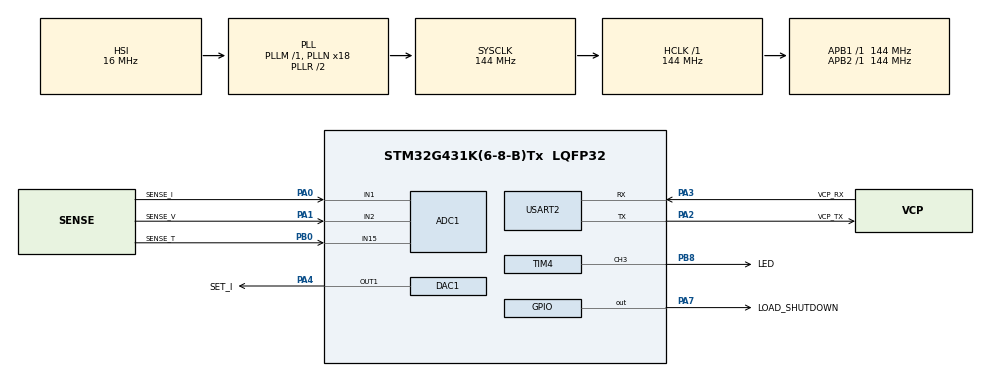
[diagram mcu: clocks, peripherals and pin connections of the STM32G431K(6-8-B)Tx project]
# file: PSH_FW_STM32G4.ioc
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ADC1.Channel-0\#ChannelRegularConversion=ADC_CHANNEL_1
ADC1.Channel-1\#ChannelRegularConversion=ADC_CHANNEL_2
ADC1.Channel-2\#ChannelRegularConversion=ADC_CHANNEL_15
ADC1.Channel-3\#ChannelRegularConversion=ADC_CHANNEL_TEMPSENSOR_ADC1
ADC1.Channel-4\#ChannelRegularConversion=ADC_CHANNEL_VREFINT
ADC1.DMAContinuousRequests=ENABLE
ADC1.EOCSelection=ADC_EOC_SEQ_CONV
ADC1.ExternalTrigConv=ADC_EXTERNALTRIG_T15_TRGO
ADC1.NbrOfConversion=5
ADC1.NbrOfConversionFlag=1
ADC1.OffsetNumber-0\#ChannelRegularConversion=ADC_OFFSET_NONE
ADC1.OffsetNumber-1\#ChannelRegularConversion=ADC_OFFSET_NONE
ADC1.OffsetNumber-2\#ChannelRegularConversion=ADC_OFFSET_NONE
ADC1.OffsetNumber-3\#ChannelRegularConversion=ADC_OFFSET_NONE
ADC1.OffsetNumber-4\#ChannelRegularConversion=ADC_OFFSET_NONE
ADC1.Overrun=ADC_OVR_DATA_OVERWRITTEN
ADC1.OversamplingMode=ENABLE
ADC1.Rank-0\#ChannelRegularConversion=1
ADC1.Rank-1\#ChannelRegularConversion=2
ADC1.Rank-2\#ChannelRegularConversion=3
ADC1.Rank-3\#ChannelRegularConversion=4
ADC1.Rank-4\#ChannelRegularConversion=5
ADC1.Ratio=ADC_OVERSAMPLING_RATIO_16
ADC1.SamplingTime-0\#ChannelRegularConversion=ADC_SAMPLETIME_47CYCLES_5
ADC1.SamplingTime-1\#ChannelRegularConversion=ADC_SAMPLETIME_47CYCLES_5
ADC1.SamplingTime-2\#ChannelRegularConversion=ADC_SAMPLETIME_24CYCLES_5
ADC1.SamplingTime-3\#ChannelRegularConversion=ADC_SAMPLETIME_12CYCLES_5
ADC1.SamplingTime-4\#ChannelRegularConversion=ADC_SAMPLETIME_47CYCLES_5
ADC1.master=1
DAC1.DAC_OutputBuffer-DAC_OUT1=DAC_OUTPUTBUFFER_DISABLE
Dma.ADC1.2.Direction=DMA_PERIPH_TO_MEMORY
Dma.ADC1.2.EventEnable=DISABLE
Dma.ADC1.2.Instance=DMA1_Channel3
Dma.ADC1.2.MemDataAlignment=DMA_MDATAALIGN_HALFWORD
Dma.ADC1.2.MemInc=DMA_MINC_ENABLE
Dma.ADC1.2.Mode=DMA_CIRCULAR
Dma.ADC1.2.PeriphDataAlignment=DMA_PDATAALIGN_HALFWORD
Dma.ADC1.2.PeriphInc=DMA_PINC_DISABLE
Dma.ADC1.2.Polarity=HAL_DMAMUX_REQ_GEN_RISING
Dma.ADC1.2.Priority=DMA_PRIORITY_LOW
Dma.ADC1.2.RequestNumber=1
Dma.ADC1.2.SignalID=NONE
Dma.ADC1.2.SyncEnable=DISABLE
Dma.ADC1.2.SyncPolarity=HAL_DMAMUX_SYNC_NO_EVENT
Dma.ADC1.2.SyncRequestNumber=1
Dma.ADC1.2.SyncSignalID=NONE
Dma.Request0=USART2_RX
Dma.Request1=USART2_TX
Dma.Request2=ADC1
Dma.USART2_RX.0.Direction=DMA_PERIPH_TO_MEMORY
Dma.USART2_RX.0.EventEnable=DISABLE
Dma.USART2_RX.0.Instance=DMA1_Channel1
Dma.USART2_RX.0.MemDataAlignment=DMA_MDATAALIGN_BYTE
Dma.USART2_RX.0.MemInc=DMA_MINC_ENABLE
Dma.USART2_RX.0.Mode=DMA_NORMAL
Dma.USART2_RX.0.PeriphDataAlignment=DMA_PDATAALIGN_BYTE
Dma.USART2_RX.0.PeriphInc=DMA_PINC_DISABLE
Dma.USART2_RX.0.Polarity=HAL_DMAMUX_REQ_GEN_RISING
Dma.USART2_RX.0.Priority=DMA_PRIORITY_LOW
Dma.USART2_RX.0.RequestNumber=1
Dma.USART2_RX.0.SignalID=NONE
Dma.USART2_RX.0.SyncEnable=DISABLE
Dma.USART2_RX.0.SyncPolarity=HAL_DMAMUX_SYNC_NO_EVENT
Dma.USART2_RX.0.SyncRequestNumber=1
Dma.USART2_RX.0.SyncSignalID=NONE
Dma.USART2_TX.1.Direction=DMA_MEMORY_TO_PERIPH
Dma.USART2_TX.1.EventEnable=DISABLE
Dma.USART2_TX.1.Instance=DMA1_Channel2
Dma.USART2_TX.1.MemDataAlignment=DMA_MDATAALIGN_BYTE
Dma.USART2_TX.1.MemInc=DMA_MINC_ENABLE
Dma.USART2_TX.1.Mode=DMA_NORMAL
Dma.USART2_TX.1.PeriphDataAlignment=DMA_PDATAALIGN_BYTE
Dma.USART2_TX.1.PeriphInc=DMA_PINC_DISABLE
Dma.USART2_TX.1.Polarity=HAL_DMAMUX_REQ_GEN_RISING
Dma.USART2_TX.1.Priority=DMA_PRIORITY_LOW
Dma.USART2_TX.1.RequestNumber=1
Dma.USART2_TX.1.SignalID=NONE
Dma.USART2_TX.1.SyncEnable=DISABLE
Dma.USART2_TX.1.SyncPolarity=HAL_DMAMUX_SYNC_NO_EVENT
Dma.USART2_TX.1.SyncRequestNumber=1
Dma.USART2_TX.1.SyncSignalID=NONE
Mcu.Family=STM32G4
Mcu.Name=STM32G431K(6-8-B)Tx
Mcu.Package=LQFP32
NVIC.ADC1_2_IRQn=true\:0\:0\:false\:false\:true\:true\:true\:true
NVIC.DMA1_Channel1_IRQn=true\:0\:0\:false\:false\:true\:false\:false\:true
NVIC.DMA1_Channel2_IRQn=true\:0\:0\:false\:false\:true\:false\:false\:true
NVIC.DMA1_Channel3_IRQn=true\:0\:0\:false\:false\:true\:false\:true\:true
NVIC.PriorityGroup=NVIC_PRIORITYGROUP_4
NVIC.USART2_IRQn=true\:0\:0\:false\:false\:true\:true\:false\:true
PA0.GPIO_Label=SENSE_I
PA0.Mode=IN1-Single-Ended
PA0.Signal=ADC1_IN1
PA1.GPIO_Label=SENSE_V
PA1.Mode=IN2-Single-Ended
PA1.Signal=ADC1_IN2
PA13.Mode=Trace_Asynchronous_SW
PA13.Signal=SYS_JTMS-SWDIO
PA14.Mode=Trace_Asynchronous_SW
PA14.Signal=SYS_JTCK-SWCLK
PA2.GPIO_Label=VCP_TX
PA2.Mode=Asynchronous
PA2.Signal=USART2_TX
PA3.GPIO_Label=VCP_RX
PA3.Mode=Asynchronous
PA3.Signal=USART2_RX
PA4.GPIO_Label=SET_I
PA4.Signal=COMP_DAC11_group
PA7.GPIO_Label=LOAD_SHUTDOWN
PA7.Signal=GPIO_Output
PB0.GPIO_Label=SENSE_T
PB0.Mode=IN15-Single-Ended
PB0.Signal=ADC1_IN15
PB3.Mode=Trace_Asynchronous_SW
PB3.Signal=SYS_JTDO-SWO
PB8-BOOT0.GPIO_Label=LED
PB8-BOOT0.Signal=S_TIM4_CH3
ProjectManager.HeapSize=0x200
ProjectManager.StackSize=0x400
ProjectManager.TargetToolchain=STM32CubeIDE
RCC.ADC12Freq_Value=144000000
RCC.AHBFreq_Value=144000000
RCC.APB1Freq_Value=144000000
RCC.APB1TimFreq_Value=144000000
RCC.APB2Freq_Value=144000000
RCC.APB2TimFreq_Value=144000000
RCC.CortexFreq_Value=144000000
RCC.EXTERNAL_CLOCK_VALUE=12288000
RCC.HCLKFreq_Value=144000000
RCC.HSE_VALUE=8000000
RCC.HSI48_VALUE=48000000
RCC.HSI_VALUE=16000000
RCC.LSE_VALUE=32768
RCC.PLLN=18
RCC.SYSCLKFreq_VALUE=144000000
RCC.SYSCLKSource=RCC_SYSCLKSOURCE_PLLCLK
RCC.USBFreq_Value=144000000
RCC.VCOOutputFreq_Value=288000000
SH.COMP_DAC11_group.0=DAC1_OUT1,DAC_OUT1
SH.S_TIM4_CH3.0=TIM4_CH3,PWM Generation3 CH3
TIM15.PeriodNoDither=125-1
TIM15.Prescaler=144-1
TIM15.TIM_MasterOutputTrigger=TIM_TRGO_UPDATE
TIM2.Prescaler=144-1
TIM4.Channel-PWM\ Generation3\ CH3=TIM_CHANNEL_3
TIM4.PeriodNoDither=255-1
TIM4.Prescaler=144-1
USART2.VirtualMode-Asynchronous=VM_ASYNC
VP_ADC1_TempSens_Input.Mode=IN-TempSens
VP_ADC1_Vref_Input.Mode=IN-Vrefint
VP_SYS_VS_DBSignals.Mode=DisableDeadBatterySignals
VP_TIM15_VS_ClockSourceINT.Mode=Internal
VP_TIM2_VS_ClockSourceINT.Mode=Internal
board=custom

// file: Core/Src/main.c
/* USER CODE BEGIN Header */
/**
  ******************************************************************************
  * @file           : main.c
  * @brief          : Main program body
  ******************************************************************************
  * @attention
  *
  * Copyright (c) 2025 STMicroelectronics.
  * All rights reserved.
  *
  * This software is licensed under terms that can be found in the LICENSE file
  * in the root directory of this software component.
  * If no LICENSE file comes with this software, it is provided AS-IS.
  *
  ******************************************************************************
  */
/* USER CODE END Header */
#include "main.h"
#include "adc.h"
#include "dac.h"
#include "dma.h"
#include "tim.h"
#include "usart.h"
#include "gpio.h"

/* USER CODE BEGIN Includes */
#include <stdio.h>
#include <Logger/Logger.h>
#include <Timer/TimerMicro.h>
#include <AnalogManager/AnalogManager.h>
#include <ModbusManager/Communication.h>
/* USER CODE END Includes */

/* USER CODE BEGIN PV */
SerialHandler_Instance_t gVcpHandler =
{
	.pUsart = &huart2,

	.pBuffer = NULL,
	.bufferSize = 0,

	.triggerOnTimeout = false,
	.timeoutBitsCount = 0,

	.triggerOnStopBytes = false,
	.pStopBytes = NULL,
	.stopBytesSize = 0,

	.pListenerCallback = NULL
};
/* USER CODE END PV */

void SystemClock_Config(void);

int main(void)
{

  /* MCU Configuration--------------------------------------------------------*/

  /* Reset of all peripherals, Initializes the Flash interface and the Systick. */
  HAL_Init();

  /* Configure the system clock */
  SystemClock_Config();

  /* Initialize all configured peripherals */
  MX_GPIO_Init();
  MX_DMA_Init();
  MX_TIM2_Init();
  MX_TIM4_Init();
  MX_TIM15_Init();
  MX_USART2_UART_Init();
  MX_ADC1_Init();
  MX_DAC1_Init();
  /* USER CODE BEGIN 2 */
  TimerMicro_Init(&htim2);
  if (AnalogManager_Init() == ERROR)
  {
	  Error_Handler();
  }
  ModbusManager_Init(&gVcpHandler, 0x01);
  /* USER CODE END 2 */

  /* Infinite loop */
  /* USER CODE BEGIN WHILE */
  LOG_INFO("Core Start.");

  while (1)
  {
	AnalogManager_Handle();
	ModbusManager_Handle();
    /* USER CODE END WHILE */

  }
}

void SystemClock_Config(void)
{
  RCC_OscInitTypeDef RCC_OscInitStruct = {0};
  RCC_ClkInitTypeDef RCC_ClkInitStruct = {0};

  /** Configure the main internal regulator output voltage
  */
  HAL_PWREx_ControlVoltageScaling(PWR_REGULATOR_VOLTAGE_SCALE1);

  /** Initializes the RCC Oscillators according to the specified parameters
  * in the RCC_OscInitTypeDef structure.
  */
  RCC_OscInitStruct.OscillatorType = RCC_OSCILLATORTYPE_HSI;
  RCC_OscInitStruct.HSIState = RCC_HSI_ON;
  RCC_OscInitStruct.HSICalibrationValue = RCC_HSICALIBRATION_DEFAULT;
  RCC_OscInitStruct.PLL.PLLState = RCC_PLL_ON;
  RCC_OscInitStruct.PLL.PLLSource = RCC_PLLSOURCE_HSI;
  RCC_OscInitStruct.PLL.PLLM = RCC_PLLM_DIV1;
  RCC_OscInitStruct.PLL.PLLN = 18;
  RCC_OscInitStruct.PLL.PLLP = RCC_PLLP_DIV2;
  RCC_OscInitStruct.PLL.PLLQ = RCC_PLLQ_DIV2;
  RCC_OscInitStruct.PLL.PLLR = RCC_PLLR_DIV2;
  if (HAL_RCC_OscConfig(&RCC_OscInitStruct) != HAL_OK)
  {
    Error_Handler();
  }

  /** Initializes the CPU, AHB and APB buses clocks
  */
  RCC_ClkInitStruct.ClockType = RCC_CLOCKTYPE_HCLK|RCC_CLOCKTYPE_SYSCLK
                              |RCC_CLOCKTYPE_PCLK1|RCC_CLOCKTYPE_PCLK2;
  RCC_ClkInitStruct.SYSCLKSource = RCC_SYSCLKSOURCE_PLLCLK;
  RCC_ClkInitStruct.AHBCLKDivider = RCC_SYSCLK_DIV1;
  RCC_ClkInitStruct.APB1CLKDivider = RCC_HCLK_DIV1;
  RCC_ClkInitStruct.APB2CLKDivider = RCC_HCLK_DIV1;

  if (HAL_RCC_ClockConfig(&RCC_ClkInitStruct, FLASH_LATENCY_4) != HAL_OK)
  {
    Error_Handler();
  }
}

/* USER CODE BEGIN 4 */
int _write(int, char *ptr, int len)
{
	for(uint32_t DataIdx = 0; DataIdx < len; DataIdx++)
	{
		ITM_SendChar(*ptr++);
	}

	return len;
}

uint32_t Logger_GetTimestamp(void)
{
	return __HAL_TIM_GET_COUNTER(&htim2);
}
/* USER CODE END 4 */

void Error_Handler(void)
{
  /* USER CODE BEGIN Error_Handler_Debug */
  /* User can add his own implementation to report the HAL error return state */
  __disable_irq();
  while (1)
  {
	  HAL_GPIO_TogglePin(LED_GPIO_Port, LED_Pin);
	  HAL_Delay(250);
  }
  /* USER CODE END Error_Handler_Debug */
}

#ifdef  USE_FULL_ASSERT
/**
  * @brief  Reports the name of the source file and the source line number
  *         where the assert_param error has occurred.
  * @param  file: pointer to the source file name
  * @param  line: assert_param error line source number
  * @retval None
  */
void assert_failed(uint8_t *file, uint32_t line)
{
  /* USER CODE BEGIN 6 */
  /* User can add his own implementation to report the file name and line number,
     ex: printf("Wrong parameters value: file %s on line %d\r\n", file, line) */

	Logger_LogMessageTrace(LOGGER_VERBOSITY_FATAL, (const char *)file, line, "assert_param() failed.");
	Error_Handler();
	/* USER CODE END 6 */
}
#endif /* USE_FULL_ASSERT */
